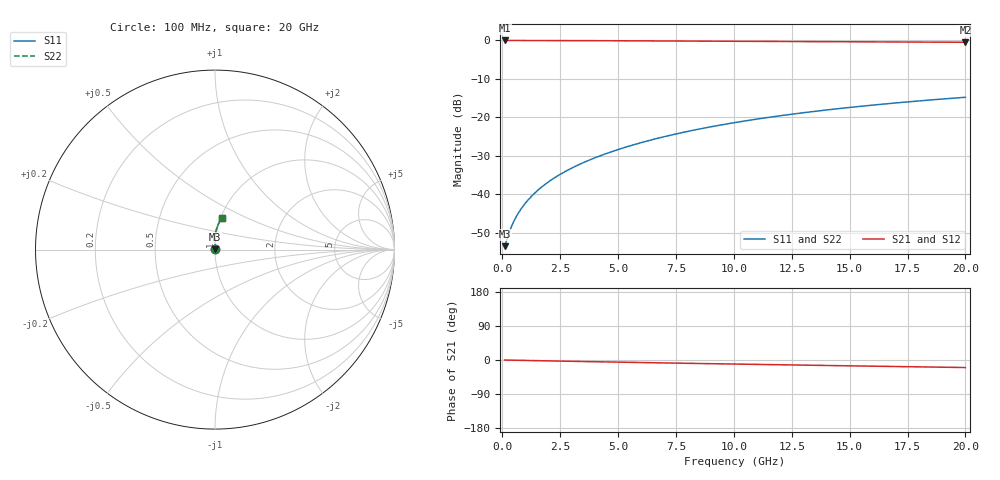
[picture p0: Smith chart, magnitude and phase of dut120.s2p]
! Touchstone file exported from HFSS 2024.1.0
!  File:  C:/UserFiles/LocalFiles/RDL_TSV_Batchsim/temp_RDL_top_120_1778683955.aedt
!  Generated:  10:54:44 PM May 13, 2026
!  Design:  RDL_top
!  Project:  temp_RDL_top_120_1778683955
!  Setup:  Setup1
!  Solution:  Sweep
! Variables:
!  dtsv = 10.80580581um
!  hbump = 3um
!  htsv = 98.96um
!  ldown = 100um
!  lrdl = 272.26um
!  p = 40
!  p1 = 45.8um
!  rhole = 1um
!  t = 450um
!  tdown = 3.915915916um
!  trdl = 2.34um
!  wdown = 15.38538539um
!  wrdl = 26.3um
# GHz S MA R 50.000000
! Terminal data exported
! Port[1] = Box2_T1
! Port[2] = Box2_T2
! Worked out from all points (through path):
!   200 points, 100 MHz to 20 GHz, reference 50 ohm
!   highest |S21| = -0.02 dB at 100 MHz (marker M1); lowest = -0.5 dB at 20 GHz (marker M2)
!   group delay of S21, straight-line fit = 2.73 ps
!   lowest |S11| = -53.5 dB at 100 MHz (marker M3), VSWR 1.00, Z = 50.2 + j0.0843 ohm
!   |S11| at or under -10 dB: start of sweep to end of sweep
!   |S22| runs from -53.5 to -14.8 dB; largest |S21 - S12| = 3.5e-15
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0.1  0.002122 23.3  0.998 -0.1  0.998 -0.1  0.002122 23.3
! Gamma 0 0 0 0
! Port Impedance 50 0 50 0
0.3  0.003204 49.1  0.9979 -0.4  0.9979 -0.4  0.003204 49.1
0.4  0.003836 55.4  0.9977 -0.5  0.9977 -0.5  0.003835 55.4
0.6  0.00511 63.4  0.9975 -0.7  0.9975 -0.7  0.00511 63.4
0.7  0.00575 66.3  0.9974 -0.8  0.9974 -0.8  0.00575 66.3
0.9  0.007044 70.6  0.9972 -1.1  0.9972 -1.1  0.007044 70.6
1.2  0.009028 75.2  0.9968 -1.4  0.9968 -1.4  0.009028 75.2
1.4  0.01038 77.5  0.9966 -1.6  0.9966 -1.6  0.01038 77.5
1.7  0.01245 80.2  0.9962 -2.0  0.9962 -2.0  0.01245 80.2
2.2  0.016 83.3  0.9955 -2.6  0.9955 -2.6  0.016 83.3
2.8  0.02043 85.9  0.9944 -3.2  0.9944 -3.2  0.02043 85.9
3.5  0.02582 87.9  0.9929 -4.0  0.9929 -4.0  0.02582 87.9
4.2  0.03145 89.2  0.9912 -4.8  0.9912 -4.8  0.03145 89.2
5  0.03819 90.1  0.9891 -5.7  0.9891 -5.7  0.03818 90.1
5.9  0.0461 90.6  0.9865 -6.6  0.9865 -6.6  0.0461 90.6
6.8  0.05433 90.6  0.9838 -7.5  0.9838 -7.5  0.05432 90.6
8.4  0.06951 90.0  0.9789 -9.1  0.9789 -9.1  0.0695 90.0
10.1  0.08614 88.7  0.9737 -10.8  0.9737 -10.8  0.08612 88.7
11.7  0.102 87.1  0.9689 -12.3  0.9689 -12.3  0.102 87.1
13.4  0.1188 85.3  0.9639 -13.9  0.9639 -13.9  0.1188 85.3
16.7  0.1511 81.6  0.9546 -16.9  0.9546 -16.9  0.1511 81.6
20  0.1825 77.9  0.9454 -19.9  0.9454 -19.9  0.1824 77.9
